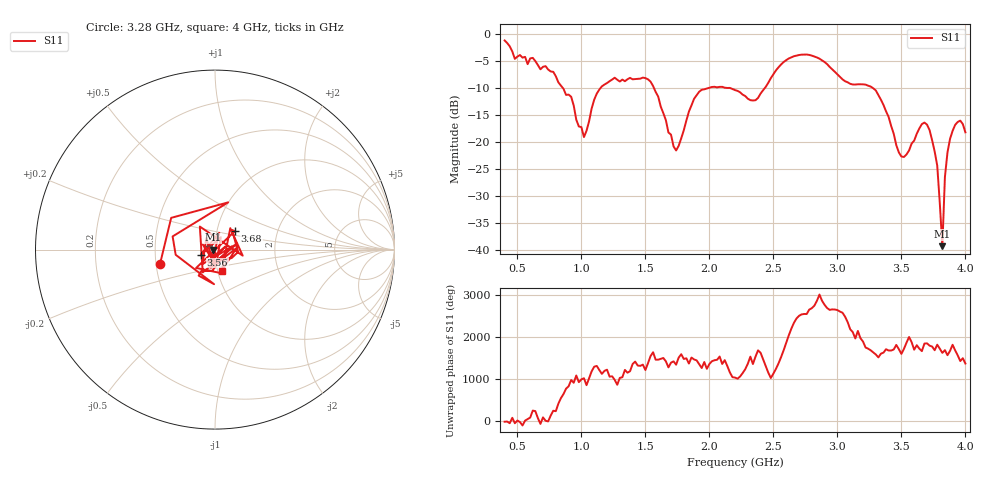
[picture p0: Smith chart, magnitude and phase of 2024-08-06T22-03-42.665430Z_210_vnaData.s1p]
!Created with skrf (http://scikit-rf.org).
# Hz S RI R 50.0
!freq ReS11 ImS11
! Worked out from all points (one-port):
!   181 points, 400 MHz to 4 GHz, reference 50 ohm
!   lowest |S11| = -39.3 dB at 3.82 GHz (marker M1), VSWR 1.02, Z = 48.9 - j0.0249 ohm
!   |S11| at or under -10 dB: 856.4 MHz to 1.148 GHz (292.1 MHz wide, 29.1 % of centre); 1.567 GHz to 1.991 GHz (423.3 MHz wide, 23.8 % of centre); 3.279 GHz to end of sweep (the widest 3 of 4)
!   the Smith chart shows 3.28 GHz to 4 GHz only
!   S11 on the Smith chart (normalised r, x): 3.28 GHz: 0.53, -0.09; 3.56 GHz: 0.85, -0.05; 3.68 GHz: 1.22, +0.26; 4 GHz: 1.05, -0.25
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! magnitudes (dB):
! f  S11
! 400 MHz  -1.1
! 480 MHz  -4.6
! 620 MHz  -4.4
! 860 MHz  -10.1
! 920 MHz  -11.6
! 1.02 GHz  -19.1
! 1.14 GHz  -10.3
! 1.3 GHz  -8.8
! 1.54 GHz  -8.8
! 1.72 GHz  -20.8
! 1.76 GHz  -20.7
! 1.92 GHz  -10.7
! 2.2 GHz  -10.4
! 2.36 GHz  -12.2
! 2.66 GHz  -4.1
! 2.86 GHz  -4.5
! 3.1 GHz  -9.2
! 3.28 GHz  -10.0
! 3.4 GHz  -15.3
! 3.48 GHz  -21.9
! 3.56 GHz  -21.6
! 3.68 GHz  -16.4
! 3.78 GHz  -24.4
! 3.82 GHz  -39.3
! 3.84 GHz  -26.5
! 3.88 GHz  -19.4
! 3.96 GHz  -16.0
! 4 GHz  -18.2
